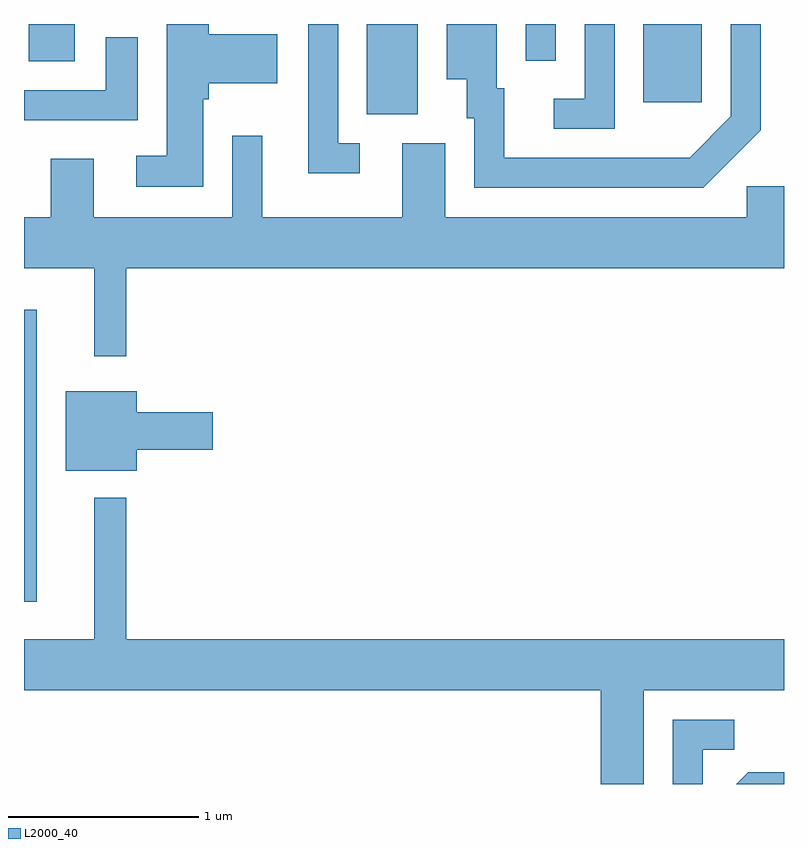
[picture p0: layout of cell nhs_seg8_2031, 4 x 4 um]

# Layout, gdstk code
import gdstk
lib = gdstk.Library(unit=1e-6, precision=1e-09)
def R(c, l, rs):  # rectangles x0, y0, x1, y1
    for r in rs: c.add(gdstk.rectangle(r[:2], r[2:], *l))
def P(c, l, *ps):  # polygons
    for p in ps: c.add(gdstk.Polygon(p, *l))
L2000_40 = (2000, 40)

nhs_seg8_2031 = lib.new_cell('nhs_seg8_2031')
R(nhs_seg8_2031, L2000_40, [(245.611,1861.301,245.679,1862.838), (247.416,1863.866,247.684,1864.342), (248.871,1863.931,249.179,1864.342), (245.636,1864.146,245.879,1864.342), (248.251,1864.148,248.409,1864.342)])
P(nhs_seg8_2031, L2000_40, [(249.489,1863.784),(249.489,1864.342),(249.331,1864.342),(249.331,1863.857),(249.114,1863.639),(248.139,1863.639),(248.139,1864.004),(248.099,1864.004),(248.099,1864.342),(247.836,1864.342),(247.836,1864.051),(247.941,1864.051),(247.941,1863.846),(247.981,1863.846),(247.981,1863.481),(249.187,1863.481)],
  [(247.378,1863.714),(247.264,1863.714),(247.264,1864.342),(247.106,1864.342),(247.106,1863.556),(247.378,1863.556)],
  [(246.554,1863.946),(246.584,1863.946),(246.584,1864.031),(246.944,1864.031),(246.944,1864.289),(246.584,1864.289),(246.584,1864.342),(246.361,1864.342),(246.361,1863.649),(246.203,1863.649),(246.203,1863.486),(246.554,1863.486)],
  [(248.719,1864.342),(248.561,1864.342),(248.561,1863.949),(248.398,1863.949),(248.398,1863.791),(248.719,1863.791)],
  [(246.209,1864.273),(246.041,1864.273),(246.041,1863.994),(245.611,1863.994),(245.611,1863.836),(246.209,1863.836)],
  [(246.149,1863.056),(249.611,1863.056),(249.611,1863.489),(249.416,1863.489),(249.416,1863.324),(247.829,1863.324),(247.829,1863.714),(247.601,1863.714),(247.601,1863.324),(246.864,1863.324),(246.864,1863.753),(246.706,1863.753),(246.706,1863.324),(245.979,1863.324),(245.979,1863.634),(245.751,1863.634),(245.751,1863.324),(245.611,1863.324),(245.611,1863.056),(245.981,1863.056),(245.981,1862.593),(246.149,1862.593)],
  [(246.204,1862.101),(246.604,1862.101),(246.604,1862.299),(246.204,1862.299),(246.204,1862.409),(245.831,1862.409),(245.831,1861.991),(246.204,1861.991)],
  [(248.874,1860.836),(249.611,1860.836),(249.611,1861.104),(246.149,1861.104),(246.149,1861.848),(245.981,1861.848),(245.981,1861.104),(245.611,1861.104),(245.611,1860.836),(248.646,1860.836),(248.646,1860.342),(248.874,1860.342)],
  [(249.184,1860.521),(249.348,1860.521),(249.348,1860.679),(249.026,1860.679),(249.026,1860.342),(249.184,1860.342)],
  [(249.611,1860.404),(249.422,1860.404),(249.359,1860.342),(249.611,1860.342)])

lib.write_gds('nhs_seg8_2031.gds')
